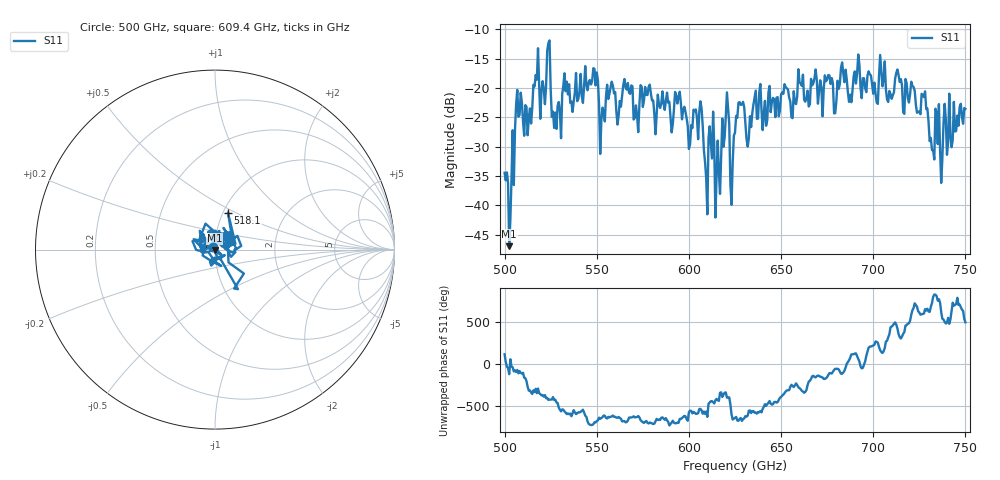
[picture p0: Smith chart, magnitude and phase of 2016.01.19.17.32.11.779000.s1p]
!Created with skrf (http://scikit-rf.org).
# GHz S RI R 50.0
!freq ReS11 ImS11
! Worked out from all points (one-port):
!   401 points, 500 GHz to 750 GHz, reference 50 ohm
!   lowest |S11| = -46.9 dB at 502.5 GHz (marker M1), VSWR 1.01, Z = 49.8 - j0.393 ohm
!   |S11| at or under -10 dB: start of sweep to end of sweep
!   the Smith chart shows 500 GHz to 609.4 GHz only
!   S11 on the Smith chart (normalised r, x): 500 GHz: 0.98, +0.03; 518.1 GHz: 1.05, +0.46; 609.4 GHz: 0.97, +0.01
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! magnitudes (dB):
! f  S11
! 500 GHz  -34.4
! 502.5 GHz  -46.9
! 507.5 GHz  -24.9
! 513.8 GHz  -23.5
! 518.1 GHz  -13.2
! 523.8 GHz  -12.3
! 526.9 GHz  -26.8
! 531.2 GHz  -21.0
! 549.4 GHz  -19.5
! 553.1 GHz  -23.3
! 556.9 GHz  -21.0
! 562.5 GHz  -22.2
! 593.8 GHz  -22.6
! 606.9 GHz  -23.5
! 609.4 GHz  -35.4
! 611.9 GHz  -29.2
! 615.6 GHz  -28.9
! 620.6 GHz  -20.7
! 623.8 GHz  -32.7
! 625 GHz  -27.6
! 628.1 GHz  -22.9
! 632.5 GHz  -28.6
! 656.2 GHz  -25.1
! 687.5 GHz  -21.1
! 718.8 GHz  -21.7
! 727.5 GHz  -21.5
! 731.9 GHz  -30.6
! 750 GHz  -23.5
